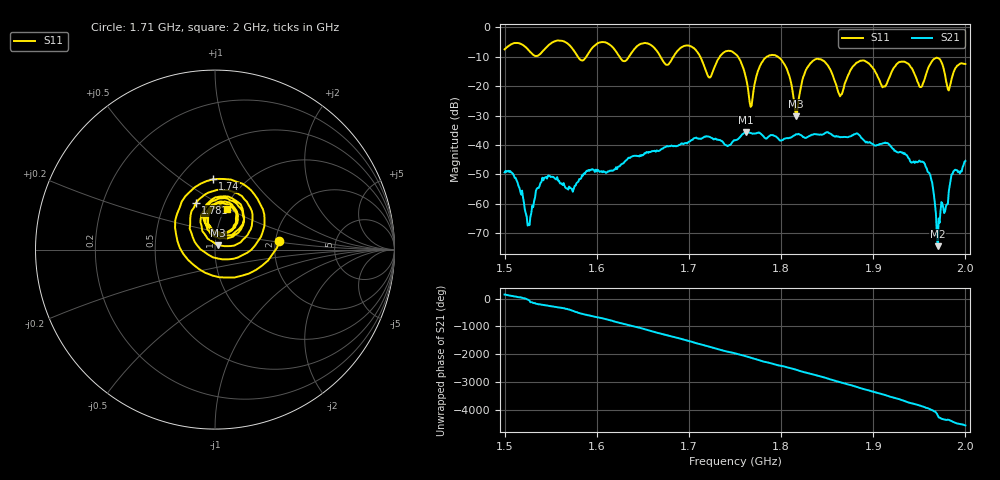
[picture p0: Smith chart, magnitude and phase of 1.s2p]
! NanoVNA-App by SYSJOINT et al v1.1.209 (+OD18)
! Date: 2026-01-21 14:25:12
! Start: 1,5GHz Stop: 2GHz Points: 501
! S-Parameter data: F S11 S21 S12 S22
# Hz S RI R 50
!  Frequency  S11_Real  S11_Imag  S21_Real  S21_Imag  S12_Real  S12_Imag  S22_Real  S22_Imag
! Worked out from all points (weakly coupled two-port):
!   501 points, 1.5 GHz to 2 GHz, reference 50 ohm
!   highest |S21| = -35.61 dB at 1.762 GHz (marker M1); lowest = -74.4 dB at 1.97 GHz (marker M2)
!   lowest |S11| = -30.3 dB at 1.816 GHz (marker M3), VSWR 1.06, Z = 51.8 + j2.54 ohm
!   |S11| at or under -10 dB: 1.712 GHz to 1.734 GHz (21.28 MHz wide, 1.24 % of centre); 1.753 GHz to 1.785 GHz (31.26 MHz wide, 1.77 % of centre); 1.796 GHz to end of sweep (the widest 3 of 6)
!   S12 and S22 are empty: the file has one direction only
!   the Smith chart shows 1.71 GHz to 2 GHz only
!   S11 on the Smith chart (normalised r, x): 1.71 GHz: 2.10, +0.23; 1.74 GHz: 0.72, +0.66; 1.781 GHz: 0.71, +0.40; 2 GHz: 1.02, +0.50
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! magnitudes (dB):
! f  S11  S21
! 1.5 GHz  -7.5  -49.3
! 1.526 GHz  -7.7  -66.8
! 1.543 GHz  -7.6  -51.2
! 1.584 GHz  -11.3  -50.3
! 1.667 GHz  -8.8  -42.1
! 1.71 GHz  -8.8  -37.8
! 1.722 GHz  -17.1  -37.2
! 1.74 GHz  -8.1  -40.0
! 1.75 GHz  -8.9  -38.4
! 1.762 GHz  -17.3  -35.6
! 1.768 GHz  -26.6  -36.0
! 1.781 GHz  -11.0  -37.1
! 1.802 GHz  -11.8  -38.3
! 1.816 GHz  -30.3  -36.4
! 1.834 GHz  -11.5  -36.5
! 1.864 GHz  -23.5  -37.4
! 1.886 GHz  -11.4  -37.0
! 1.917 GHz  -17.4  -39.8
! 1.956 GHz  -17.4  -46.5
! 1.97 GHz  -10.4  -74.4
! 1.982 GHz  -21.5  -55.7
! 2 GHz  -12.5  -45.4
